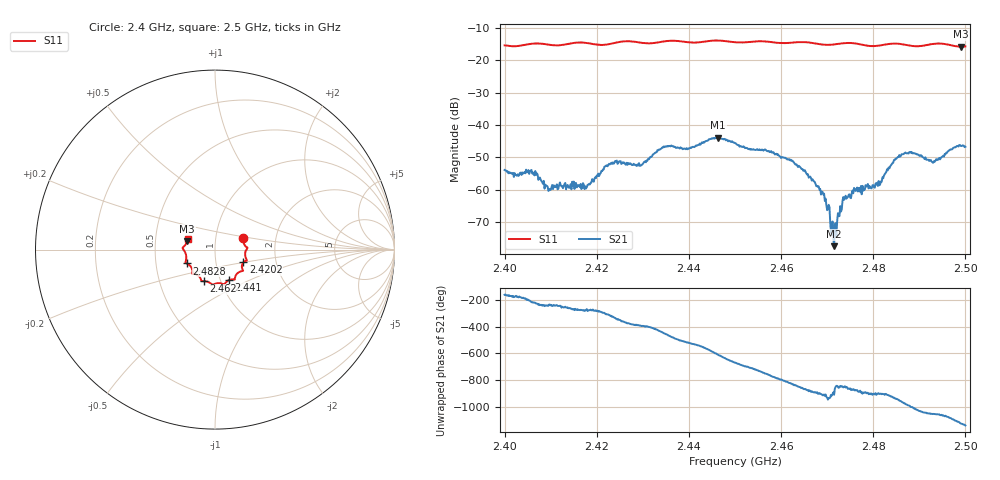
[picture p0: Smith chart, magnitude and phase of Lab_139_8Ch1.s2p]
# Hz S RI R 50
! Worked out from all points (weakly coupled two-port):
!   601 points, 2.4 GHz to 2.5 GHz, reference 50 ohm
!   highest |S21| = -43.93 dB at 2.4463 GHz (marker M1); lowest = -77.3 dB at 2.4715 GHz (marker M2)
!   lowest |S11| = -15.8 dB at 2.499 GHz (marker M3), VSWR 1.39, Z = 36.5 + j3.49 ohm
!   |S11| at or under -10 dB: start of sweep to end of sweep
!   S12 and S22 are empty: the file has one direction only
!   S11 on the Smith chart (normalised r, x): 2.4 GHz: 1.36, +0.18; 2.4202 GHz: 1.36, -0.20; 2.441 GHz: 1.10, -0.39; 2.462 GHz: 0.84, -0.30; 2.4828 GHz: 0.72, -0.11; 2.5 GHz: 0.73, +0.09
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2.4e9  0.1574 0.063  -0.00194 -0.000591  0 0  0 0
2.406167e9  0.1797 0.0116  -0.00145 0.00116  0 0  0 0
2.409667e9  0.1733 -0.00304  -0.000553 0.000814  0 0  0 0
2.416667e9  0.1777 -0.0599  0.000113 0.00103  0 0  0 0
2.420167e9  0.1583 -0.0708  0.000339 0.0016  0 0  0 0
2.429833e9  0.138 -0.1231  0.00198 -0.00146  0 0  0 0
2.433333e9  0.1125 -0.151  0.00144 -0.00381  0 0  0 0
2.441e9  0.0786 -0.1697  -0.00456 -0.000702  0 0  0 0
2.446333e9  0.0502 -0.1951  -0.00209 0.00601  0 0  0 0
2.45e9  0.0286 -0.1871  0.00335 0.00406  0 0  0 0
2.462e9  -0.0605 -0.1754  -0.000632 -0.00277  0 0  0 0
2.466667e9  -0.0778 -0.1683  -0.00134 -0.000386  0 0  0 0
2.469333e9  -0.0895 -0.1484  -0.000868 0.000115  0 0  0 0
2.4715e9  -0.1093 -0.137  -0.000134 2.31e-05  0 0  0 0
2.473833e9  -0.1243 -0.1352  -0.000435 -0.000592  0 0  0 0
2.481333e9  -0.1456 -0.0839  -0.00118 8.28e-05  0 0  0 0
2.482833e9  -0.1575 -0.0773  -0.00189 0.000155  0 0  0 0
2.483333e9  -0.1608 -0.0759  -0.00216 0.00051  0 0  0 0
2.486667e9  -0.1626 -0.063  -0.00105 0.00346  0 0  0 0
2.493e9  -0.1787 0.00404  0.00233 0.0012  0 0  0 0
2.499e9  -0.1547 0.0466  0.00339 -0.00334  0 0  0 0
2.5e9  -0.1515 0.0609  0.00238 -0.00397  0 0  0 0
